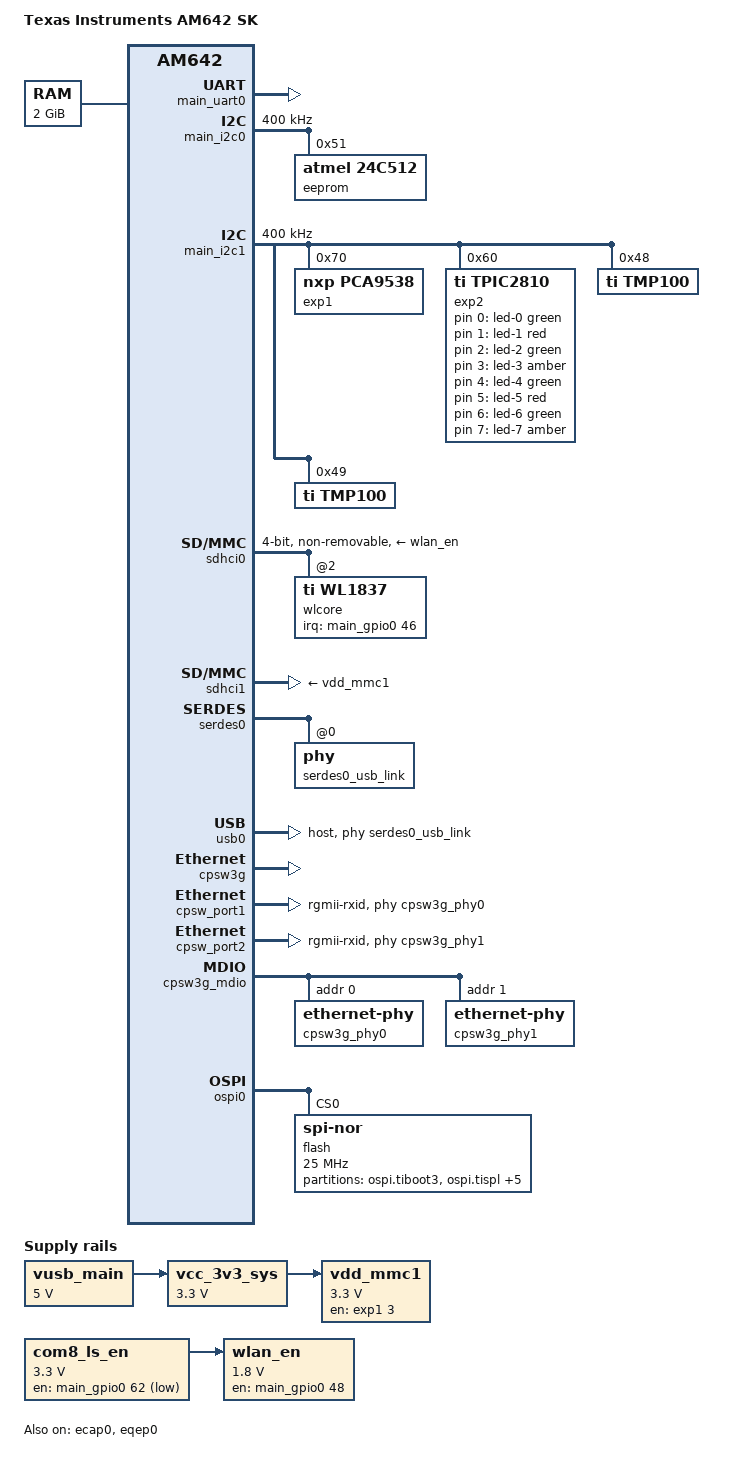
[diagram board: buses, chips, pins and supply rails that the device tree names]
// SPDX-License-Identifier: GPL-2.0-only OR MIT
/*
 * Copyright (C) 2024 Texas Instruments Incorporated - https://www.ti.com/
 */

/dts-v1/;

#include <dt-bindings/phy/phy.h>
#include <dt-bindings/gpio/gpio.h>
#include <dt-bindings/net/ti-dp83867.h>
#include <dt-bindings/leds/common.h>
#include "k3-am642.dtsi"

#include "k3-serdes.h"

/ {
	compatible = "ti,am642-sk", "ti,am642";
	model = "Texas Instruments AM642 SK";

	chosen {
		stdout-path = &main_uart0;
	};

	aliases {
		serial0 = &mcu_uart0;
		serial1 = &main_uart1;
		serial2 = &main_uart0;
		i2c0 = &main_i2c0;
		i2c1 = &main_i2c1;
		mmc0 = &sdhci0;
		mmc1 = &sdhci1;
		ethernet0 = &cpsw_port1;
		ethernet1 = &cpsw_port2;
	};

	memory@80000000 {
		bootph-pre-ram;
		device_type = "memory";
		/* 2G RAM */
		reg = <0x00000000 0x80000000 0x00000000 0x80000000>;
	};

	reserved_memory: reserved-memory {
		#address-cells = <2>;
		#size-cells = <2>;
		ranges;

		secure_ddr: optee@9e800000 {
			reg = <0x00 0x9e800000 0x00 0x01800000>; /* for OP-TEE */
			alignment = <0x1000>;
			no-map;
		};

		main_r5fss0_core0_dma_memory_region: memory@a0000000 {
			compatible = "shared-dma-pool";
			reg = <0x00 0xa0000000 0x00 0x100000>;
			no-map;
		};

		main_r5fss0_core0_memory_region: memory@a0100000 {
			compatible = "shared-dma-pool";
			reg = <0x00 0xa0100000 0x00 0xf00000>;
			no-map;
		};
	};

	vusb_main: regulator-0 {
		/* USB MAIN INPUT 5V DC */
		bootph-all;
		compatible = "regulator-fixed";
		regulator-name = "vusb_main5v0";
		regulator-min-microvolt = <5000000>;
		regulator-max-microvolt = <5000000>;
		regulator-always-on;
		regulator-boot-on;
	};

	vcc_3v3_sys: regulator-1 {
		/* output of LP8733xx */
		bootph-all;
		compatible = "regulator-fixed";
		regulator-name = "vcc_3v3_sys";
		regulator-min-microvolt = <3300000>;
		regulator-max-microvolt = <3300000>;
		vin-supply = <&vusb_main>;
		regulator-always-on;
		regulator-boot-on;
	};

	vdd_mmc1: regulator-2 {
		/* TPS2051BD */
		bootph-all;
		compatible = "regulator-fixed";
		regulator-name = "vdd_mmc1";
		regulator-min-microvolt = <3300000>;
		regulator-max-microvolt = <3300000>;
		regulator-boot-on;
		enable-active-high;
		vin-supply = <&vcc_3v3_sys>;
		gpio = <&exp1 3 GPIO_ACTIVE_HIGH>;
	};

	com8_ls_en: regulator-3 {
		compatible = "regulator-fixed";
		regulator-name = "com8_ls_en";
		regulator-min-microvolt = <3300000>;
		regulator-max-microvolt = <3300000>;
		regulator-always-on;
		regulator-boot-on;
		pinctrl-0 = <&main_com8_ls_en_pins_default>;
		pinctrl-names = "default";
		gpio = <&main_gpio0 62 GPIO_ACTIVE_LOW>;
	};

	wlan_en: regulator-4 {
		/* output of SN74AVC4T245RSVR */
		compatible = "regulator-fixed";
		regulator-name = "wlan_en";
		regulator-min-microvolt = <1800000>;
		regulator-max-microvolt = <1800000>;
		enable-active-high;
		pinctrl-0 = <&main_wlan_en_pins_default>;
		pinctrl-names = "default";
		vin-supply = <&com8_ls_en>;
		gpio = <&main_gpio0 48 GPIO_ACTIVE_HIGH>;
	};

	led-controller {
		compatible = "gpio-leds";

		led-0 {
			color = <LED_COLOR_ID_GREEN>;
			function = LED_FUNCTION_INDICATOR;
			function-enumerator = <1>;
			gpios = <&exp2 0 GPIO_ACTIVE_HIGH>;
			default-state = "off";
		};

		led-1 {
			color = <LED_COLOR_ID_RED>;
			function = LED_FUNCTION_INDICATOR;
			function-enumerator = <2>;
			gpios = <&exp2 1 GPIO_ACTIVE_HIGH>;
			default-state = "off";
		};

		led-2 {
			color = <LED_COLOR_ID_GREEN>;
			function = LED_FUNCTION_INDICATOR;
			function-enumerator = <3>;
			gpios = <&exp2 2 GPIO_ACTIVE_HIGH>;
			default-state = "off";
		};

		led-3 {
			color = <LED_COLOR_ID_AMBER>;
			function = LED_FUNCTION_INDICATOR;
			function-enumerator = <4>;
			gpios = <&exp2 3 GPIO_ACTIVE_HIGH>;
			default-state = "off";
		};

		led-4 {
			color = <LED_COLOR_ID_GREEN>;
			function = LED_FUNCTION_INDICATOR;
			function-enumerator = <5>;
			gpios = <&exp2 4 GPIO_ACTIVE_HIGH>;
			default-state = "off";
		};

		led-5 {
			color = <LED_COLOR_ID_RED>;
			function = LED_FUNCTION_INDICATOR;
			function-enumerator = <6>;
			gpios = <&exp2 5 GPIO_ACTIVE_HIGH>;
			default-state = "off";
		};

		led-6 {
			color = <LED_COLOR_ID_GREEN>;
			function = LED_FUNCTION_INDICATOR;
			function-enumerator = <7>;
			gpios = <&exp2 6 GPIO_ACTIVE_HIGH>;
			default-state = "off";
		};

		led-7 {
			color = <LED_COLOR_ID_AMBER>;
			function = LED_FUNCTION_HEARTBEAT;
			function-enumerator = <8>;
			linux,default-trigger = "heartbeat";
			gpios = <&exp2 7 GPIO_ACTIVE_HIGH>;
		};
	};
};

&main_pmx0 {
	main_mmc1_pins_default: main-mmc1-default-pins {
		bootph-all;
		pinctrl-single,pins = <
			AM64X_IOPAD(0x029c, PIN_INPUT_PULLUP, 0) /* (C20) MMC1_SDWP */
			AM64X_IOPAD(0x0298, PIN_INPUT_PULLUP, 0) /* (D19) MMC1_SDCD */
			AM64X_IOPAD(0x0294, PIN_INPUT_PULLUP, 0) /* (J19) MMC1_CMD */
			AM64X_IOPAD(0x0290, PIN_INPUT, 0) /* (#N/A) MMC1_CLKLB */
			AM64X_IOPAD(0x028c, PIN_INPUT_PULLDOWN, 0) /* (L20) MMC1_CLK */
			AM64X_IOPAD(0x0288, PIN_INPUT_PULLUP, 0) /* (K21) MMC1_DAT0 */
			AM64X_IOPAD(0x0284, PIN_INPUT_PULLUP, 0) /* (L21) MMC1_DAT1 */
			AM64X_IOPAD(0x0280, PIN_INPUT_PULLUP, 0) /* (K19) MMC1_DAT2 */
			AM64X_IOPAD(0x027c, PIN_INPUT_PULLUP, 0) /* (K18) MMC1_DAT3 */
		>;
	};

	main_uart0_pins_default: main-uart0-default-pins {
		bootph-all;
		pinctrl-single,pins = <
			AM64X_IOPAD(0x0238, PIN_INPUT, 0) /* (B16) UART0_CTSn */
			AM64X_IOPAD(0x023c, PIN_OUTPUT, 0) /* (A16) UART0_RTSn */
			AM64X_IOPAD(0x0230, PIN_INPUT, 0) /* (D15) UART0_RXD */
			AM64X_IOPAD(0x0234, PIN_OUTPUT, 0) /* (C16) UART0_TXD */
		>;
	};

	main_uart1_pins_default: main-uart1-default-pins {
		bootph-pre-ram;
		pinctrl-single,pins = <
			AM64X_IOPAD(0x0248, PIN_INPUT, 0) /* (D16) UART1_CTSn */
			AM64X_IOPAD(0x024c, PIN_OUTPUT, 0) /* (E16) UART1_RTSn */
			AM64X_IOPAD(0x0240, PIN_INPUT, 0) /* (E15) UART1_RXD */
			AM64X_IOPAD(0x0244, PIN_OUTPUT, 0) /* (E14) UART1_TXD */
		>;
	};

	main_usb0_pins_default: main-usb0-default-pins {
		bootph-all;
		pinctrl-single,pins = <
			AM64X_IOPAD(0x02a8, PIN_OUTPUT, 0) /* (E19) USB0_DRVVBUS */
		>;
	};

	main_i2c0_pins_default: main-i2c0-default-pins {
		bootph-all;
		pinctrl-single,pins = <
			AM64X_IOPAD(0x0260, PIN_INPUT_PULLUP, 0) /* (A18) I2C0_SCL */
			AM64X_IOPAD(0x0264, PIN_INPUT_PULLUP, 0) /* (B18) I2C0_SDA */
		>;
	};

	main_i2c1_pins_default: main-i2c1-default-pins {
		bootph-all;
		pinctrl-single,pins = <
			AM64X_IOPAD(0x0268, PIN_INPUT_PULLUP, 0) /* (C18) I2C1_SCL */
			AM64X_IOPAD(0x026c, PIN_INPUT_PULLUP, 0) /* (B19) I2C1_SDA */
		>;
	};

	mdio1_pins_default: mdio1-default-pins {
		pinctrl-single,pins = <
			AM64X_IOPAD(0x01fc, PIN_OUTPUT, 4) /* (R2) PRG0_PRU1_GPO19.MDIO0_MDC */
			AM64X_IOPAD(0x01f8, PIN_INPUT, 4) /* (P5) PRG0_PRU1_GPO18.MDIO0_MDIO */
		>;
	};

	rgmii1_pins_default: rgmii1-default-pins {
		pinctrl-single,pins = <
			AM64X_IOPAD(0x011c, PIN_INPUT, 4) /* (AA13) PRG1_PRU1_GPO5.RGMII1_RD0 */
			AM64X_IOPAD(0x0128, PIN_INPUT, 4) /* (U12) PRG1_PRU1_GPO8.RGMII1_RD1 */
			AM64X_IOPAD(0x0150, PIN_INPUT, 4) /* (Y13) PRG1_PRU1_GPO18.RGMII1_RD2 */
			AM64X_IOPAD(0x0154, PIN_INPUT, 4) /* (V12) PRG1_PRU1_GPO19.RGMII1_RD3 */
			AM64X_IOPAD(0x00d8, PIN_INPUT, 4) /* (W13) PRG1_PRU0_GPO8.RGMII1_RXC */
			AM64X_IOPAD(0x00cc, PIN_INPUT, 4) /* (V13) PRG1_PRU0_GPO5.RGMII1_RX_CTL */
			AM64X_IOPAD(0x0124, PIN_OUTPUT, 4) /* (V15) PRG1_PRU1_GPO7.RGMII1_TD0 */
			AM64X_IOPAD(0x012c, PIN_OUTPUT, 4) /* (V14) PRG1_PRU1_GPO9.RGMII1_TD1 */
			AM64X_IOPAD(0x0130, PIN_OUTPUT, 4) /* (W14) PRG1_PRU1_GPO10.RGMII1_TD2 */
			AM64X_IOPAD(0x014c, PIN_OUTPUT, 4) /* (AA14) PRG1_PRU1_GPO17.RGMII1_TD3 */
			AM64X_IOPAD(0x00e0, PIN_OUTPUT, 4) /* (U14) PRG1_PRU0_GPO10.RGMII1_TXC */
			AM64X_IOPAD(0x00dc, PIN_OUTPUT, 4) /* (U15) PRG1_PRU0_GPO9.RGMII1_TX_CTL */
		>;
	};

       rgmii2_pins_default: rgmii2-default-pins {
		pinctrl-single,pins = <
			AM64X_IOPAD(0x0108, PIN_INPUT, 4) /* (W11) PRG1_PRU1_GPO0.RGMII2_RD0 */
			AM64X_IOPAD(0x010c, PIN_INPUT, 4) /* (V11) PRG1_PRU1_GPO1.RGMII2_RD1 */
			AM64X_IOPAD(0x0110, PIN_INPUT, 4) /* (AA12) PRG1_PRU1_GPO2.RGMII2_RD2 */
			AM64X_IOPAD(0x0114, PIN_INPUT, 4) /* (Y12) PRG1_PRU1_GPO3.RGMII2_RD3 */
			AM64X_IOPAD(0x0120, PIN_INPUT, 4) /* (U11) PRG1_PRU1_GPO6.RGMII2_RXC */
			AM64X_IOPAD(0x0118, PIN_INPUT, 4) /* (W12) PRG1_PRU1_GPO4.RGMII2_RX_CTL */
			AM64X_IOPAD(0x0134, PIN_OUTPUT, 4) /* (AA10) PRG1_PRU1_GPO11.RGMII2_TD0 */
			AM64X_IOPAD(0x0138, PIN_OUTPUT, 4) /* (V10) PRG1_PRU1_GPO12.RGMII2_TD1 */
			AM64X_IOPAD(0x013c, PIN_OUTPUT, 4) /* (U10) PRG1_PRU1_GPO13.RGMII2_TD2 */
			AM64X_IOPAD(0x0140, PIN_OUTPUT, 4) /* (AA11) PRG1_PRU1_GPO14.RGMII2_TD3 */
			AM64X_IOPAD(0x0148, PIN_OUTPUT, 4) /* (Y10) PRG1_PRU1_GPO16.RGMII2_TXC */
			AM64X_IOPAD(0x0144, PIN_OUTPUT, 4) /* (Y11) PRG1_PRU1_GPO15.RGMII2_TX_CTL */
		>;
	};

	ospi0_pins_default: ospi0-default-pins {
		pinctrl-single,pins = <
			AM64X_IOPAD(0x0000, PIN_OUTPUT, 0) /* (N20) OSPI0_CLK */
			AM64X_IOPAD(0x002c, PIN_OUTPUT, 0) /* (L19) OSPI0_CSn0 */
			AM64X_IOPAD(0x000c, PIN_INPUT, 0) /* (M19) OSPI0_D0 */
			AM64X_IOPAD(0x0010, PIN_INPUT, 0) /* (M18) OSPI0_D1 */
			AM64X_IOPAD(0x0014, PIN_INPUT, 0) /* (M20) OSPI0_D2 */
			AM64X_IOPAD(0x0018, PIN_INPUT, 0) /* (M21) OSPI0_D3 */
			AM64X_IOPAD(0x001c, PIN_INPUT, 0) /* (P21) OSPI0_D4 */
			AM64X_IOPAD(0x0020, PIN_INPUT, 0) /* (P20) OSPI0_D5 */
			AM64X_IOPAD(0x0024, PIN_INPUT, 0) /* (N18) OSPI0_D6 */
			AM64X_IOPAD(0x0028, PIN_INPUT, 0) /* (M17) OSPI0_D7 */
			AM64X_IOPAD(0x0008, PIN_INPUT, 0) /* (N19) OSPI0_DQS */
		>;
	};

	main_ecap0_pins_default: main-ecap0-default-pins {
		pinctrl-single,pins = <
			AM64X_IOPAD(0x0270, PIN_INPUT, 0) /* (D18) ECAP0_IN_APWM_OUT */
		>;
	};

	main_eqep0_pins_default: main-eqep0-default-pins {
		pinctrl-single,pins = <
			AM64X_IOPAD(0x00a0, PIN_INPUT, 3) /* (N16) GPMC0_WPn.EQEP0_A */
			AM64X_IOPAD(0x00a4, PIN_INPUT, 3) /* (N17) GPMC0_DIR.EQEP0_B */
			AM64X_IOPAD(0x00ac, PIN_INPUT, 3) /* (R20) GPMC0_CSn1.EQEP0_I */
			AM64X_IOPAD(0x00a8, PIN_INPUT, 3) /* (R19) GPMC0_CSn0.EQEP0_S */
		>;
	};

	main_wlan_en_pins_default: main-wlan-en-default-pins {
		pinctrl-single,pins = <
			AM64X_IOPAD(0x00c4, PIN_OUTPUT_PULLUP, 7) /* (V8) GPIO0_48 */
		>;
	};

	main_com8_ls_en_pins_default: main-com8-ls-en-default-pins {
		pinctrl-single,pins = <
			AM64X_IOPAD(0x00fc, PIN_OUTPUT, 7) /* (U7) PRG1_PRU0_GPO17.GPIO0_62 */
		>;
	};

	main_wlan_pins_default: main-wlan-default-pins {
		pinctrl-single,pins = <
			AM64X_IOPAD(0x00bc, PIN_INPUT, 7) /* (U8) GPIO0_46 */
		>;
	};
};

&main_uart0 {
	bootph-all;
	status = "okay";
	pinctrl-names = "default";
	pinctrl-0 = <&main_uart0_pins_default>;
};

&main_uart1 {
	/* main_uart1 is reserved for firmware usage */
	bootph-pre-ram;
	status = "reserved";
	pinctrl-names = "default";
	pinctrl-0 = <&main_uart1_pins_default>;
};

&main_i2c0 {
	bootph-all;
	status = "okay";
	pinctrl-names = "default";
	pinctrl-0 = <&main_i2c0_pins_default>;
	clock-frequency = <400000>;

	eeprom@51 {
		compatible = "atmel,24c512";
		reg = <0x51>;
	};
};

&main_i2c1 {
	bootph-all;
	status = "okay";
	pinctrl-names = "default";
	pinctrl-0 = <&main_i2c1_pins_default>;
	clock-frequency = <400000>;

	exp1: gpio@70 {
		bootph-all;
		compatible = "nxp,pca9538";
		reg = <0x70>;
		gpio-controller;
		#gpio-cells = <2>;
		gpio-line-names = "GPIO_CPSW2_RST", "GPIO_CPSW1_RST",
				  "PRU_DETECT", "MMC1_SD_EN",
				  "VPP_LDO_EN", "RPI_PS_3V3_En",
				  "RPI_PS_5V0_En", "RPI_HAT_DETECT";
	};

	exp2: gpio@60 {
		compatible = "ti,tpic2810";
		reg = <0x60>;
		gpio-controller;
		#gpio-cells = <2>;
		gpio-line-names = "LED1","LED2","LED3","LED4","LED5","LED6","LED7","LED8";
	};

	/* SoC power supply temperature */
	tmp100@48 {
		compatible = "ti,tmp100";
		reg = <0x48>;
	};

	/* DDR power supply temperature */
	tmp100@49 {
		compatible = "ti,tmp100";
		reg = <0x49>;
	};
};

/* mcu_gpio0 and mcu_gpio_intr are reserved for mcu firmware usage */
&mcu_gpio0 {
	status = "reserved";
};

&mcu_gpio_intr {
	status = "reserved";
};

&sdhci0 {
	status = "okay";
	vmmc-supply = <&wlan_en>;
	bus-width = <4>;
	non-removable;
	cap-power-off-card;
	keep-power-in-suspend;
	ti,driver-strength-ohm = <50>;

	#address-cells = <1>;
	#size-cells = <0>;
	wlcore: wlcore@2 {
		compatible = "ti,wl1837";
		reg = <2>;
		pinctrl-0 = <&main_wlan_pins_default>;
		pinctrl-names = "default";
		interrupt-parent = <&main_gpio0>;
		interrupts = <46 IRQ_TYPE_EDGE_FALLING>;
	};
};

/* SD/MMC */
&sdhci1 {
	bootph-all;
	status = "okay";
	vmmc-supply = <&vdd_mmc1>;
	pinctrl-names = "default";
	pinctrl-0 = <&main_mmc1_pins_default>;
	disable-wp;
};

&serdes_ln_ctrl {
	bootph-all;
	idle-states = <AM64_SERDES0_LANE0_USB>;
};

&serdes_refclk {
	bootph-all;
};

&serdes_wiz0 {
	bootph-all;
};

&serdes0 {
	bootph-all;
	serdes0_usb_link: phy@0 {
		bootph-all;
		reg = <0>;
		cdns,num-lanes = <1>;
		#phy-cells = <0>;
		cdns,phy-type = <PHY_TYPE_USB3>;
		resets = <&serdes_wiz0 1>;
	};
};

&usbss0 {
	bootph-all;
	ti,vbus-divider;
};

&usb0 {
	bootph-all;
	dr_mode = "host";
	maximum-speed = "super-speed";
	pinctrl-names = "default";
	pinctrl-0 = <&main_usb0_pins_default>;
	phys = <&serdes0_usb_link>;
	phy-names = "cdns3,usb3-phy";
};

&cpsw3g {
	pinctrl-names = "default";
	pinctrl-0 = <&rgmii1_pins_default>, <&rgmii2_pins_default>;
	status = "okay";
};

&cpsw_port1 {
	phy-mode = "rgmii-rxid";
	phy-handle = <&cpsw3g_phy0>;
	status = "okay";
};

&cpsw_port2 {
	phy-mode = "rgmii-rxid";
	phy-handle = <&cpsw3g_phy1>;
	status = "okay";
};

&cpsw3g_mdio {
	status = "okay";
	pinctrl-names = "default";
	pinctrl-0 = <&mdio1_pins_default>;

	cpsw3g_phy0: ethernet-phy@0 {
		reg = <0>;
		ti,rx-internal-delay = <DP83867_RGMIIDCTL_2_00_NS>;
		ti,fifo-depth = <DP83867_PHYCR_FIFO_DEPTH_4_B_NIB>;
	};

	cpsw3g_phy1: ethernet-phy@1 {
		reg = <1>;
		ti,rx-internal-delay = <DP83867_RGMIIDCTL_2_00_NS>;
		ti,fifo-depth = <DP83867_PHYCR_FIFO_DEPTH_4_B_NIB>;
	};
};

&ospi0 {
	status = "okay";
	pinctrl-names = "default";
	pinctrl-0 = <&ospi0_pins_default>;

	flash@0 {
		compatible = "jedec,spi-nor";
		reg = <0x0>;
		spi-tx-bus-width = <8>;
		spi-rx-bus-width = <8>;
		spi-max-frequency = <25000000>;
		cdns,tshsl-ns = <60>;
		cdns,tsd2d-ns = <60>;
		cdns,tchsh-ns = <60>;
		cdns,tslch-ns = <60>;
		cdns,read-delay = <4>;

		partitions {
			compatible = "fixed-partitions";
			#address-cells = <1>;
			#size-cells = <1>;

			partition@0 {
				label = "ospi.tiboot3";
				reg = <0x0 0x100000>;
			};

			partition@100000 {
				label = "ospi.tispl";
				reg = <0x100000 0x200000>;
			};

			partition@300000 {
				label = "ospi.u-boot";
				reg = <0x300000 0x400000>;
			};

			partition@700000 {
				label = "ospi.env";
				reg = <0x700000 0x40000>;
			};

			partition@740000 {
				label = "ospi.env.backup";
				reg = <0x740000 0x40000>;
			};

			partition@800000 {
				label = "ospi.rootfs";
				reg = <0x800000 0x37c0000>;
			};

			partition@3fc0000 {
				label = "ospi.phypattern";
				reg = <0x3fc0000 0x40000>;
			};
		};
	};
};

&ecap0 {
	status = "okay";
	/* PWM is available on Pin 1 of header J3 */
	pinctrl-names = "default";
	pinctrl-0 = <&main_ecap0_pins_default>;
};

&eqep0 {
	status = "okay";
	/* EQEP0 A & B available on pins 18 & 22 of J4 header */
	pinctrl-names = "default";
	pinctrl-0 = <&main_eqep0_pins_default>;
};

#include "k3-am64-ti-ipc-firmware.dtsi"
